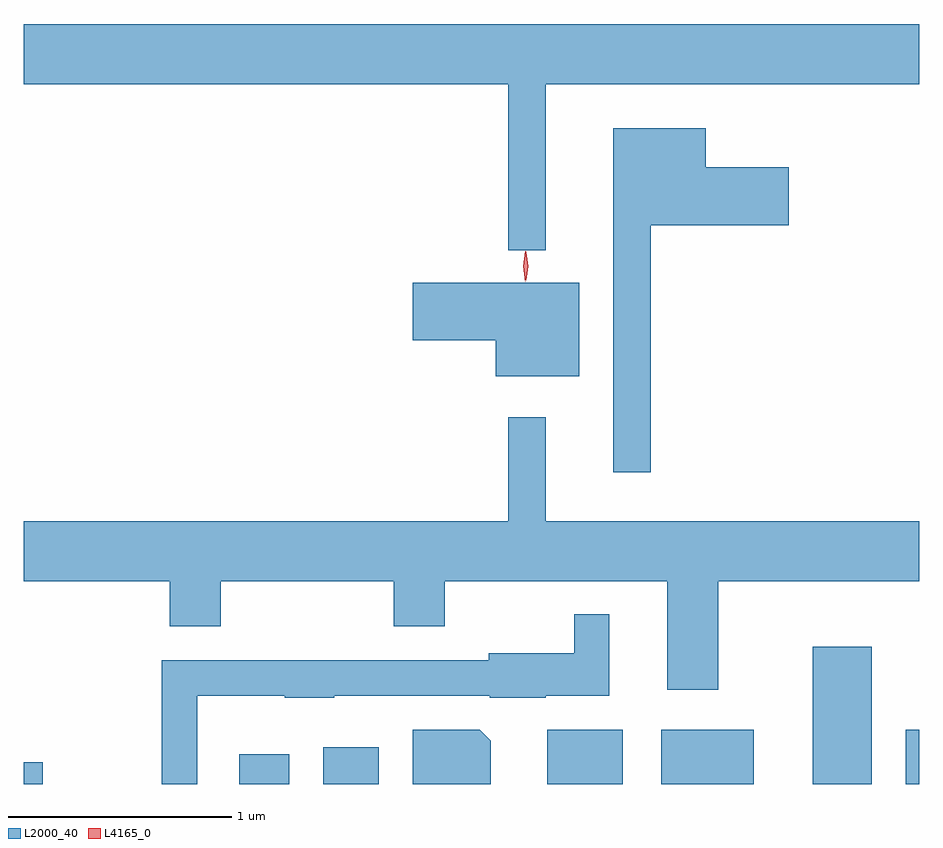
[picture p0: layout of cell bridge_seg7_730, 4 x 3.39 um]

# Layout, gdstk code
import gdstk
lib = gdstk.Library(unit=1e-6, precision=1e-09)
def R(c, l, rs):  # rectangles x0, y0, x1, y1
    for r in rs: c.add(gdstk.rectangle(r[:2], r[2:], *l))
def P(c, l, *ps):  # polygons
    for p in ps: c.add(gdstk.Polygon(p, *l))
L2000_40 = (2000, 40)
L4165_0 = (4165, 0)

bridge_seg7_730 = lib.new_cell('bridge_seg7_730')
R(bridge_seg7_730, L2000_40, [(523.618,1768.911,523.704,1769.009), (524.581,1768.911,524.804,1769.044), (524.956,1768.911,525.204,1769.074), (525.956,1768.911,526.294,1769.154), (526.466,1768.911,526.879,1769.154), (527.141,1768.911,527.404,1769.524), (527.556,1768.911,527.618,1769.154)])
P(bridge_seg7_730, L2000_40, [(525.949,1772.036),(527.618,1772.036),(527.618,1772.304),(523.618,1772.304),(523.618,1772.036),(525.781,1772.036),(525.781,1771.293),(525.949,1771.293)],
  [(526.419,1771.406),(527.034,1771.406),(527.034,1771.664),(526.664,1771.664),(526.664,1771.839),(526.251,1771.839),(526.251,1770.303),(526.419,1770.303)],
  [(526.099,1771.149),(525.356,1771.149),(525.356,1770.891),(525.726,1770.891),(525.726,1770.731),(526.099,1770.731)],
  [(526.719,1769.816),(527.618,1769.816),(527.618,1770.084),(525.949,1770.084),(525.949,1770.548),(525.781,1770.548),(525.781,1770.084),(523.618,1770.084),(523.618,1769.816),(524.271,1769.816),(524.271,1769.616),(524.499,1769.616),(524.499,1769.816),(525.271,1769.816),(525.271,1769.616),(525.499,1769.616),(525.499,1769.816),(526.491,1769.816),(526.491,1769.331),(526.719,1769.331)],
  [(524.394,1769.306),(524.785,1769.306),(524.785,1769.296),(525.005,1769.296),(525.005,1769.306),(525.7,1769.306),(525.7,1769.296),(525.95,1769.296),(525.95,1769.306),(526.234,1769.306),(526.234,1769.668),(526.076,1769.668),(526.076,1769.494),(525.696,1769.494),(525.696,1769.464),(524.236,1769.464),(524.236,1768.911),(524.394,1768.911)],
  [(525.704,1769.104),(525.654,1769.154),(525.356,1769.154),(525.356,1768.911),(525.704,1768.911)])
P(bridge_seg7_730, L4165_0, [(525.862,1771.16),(525.862,1771.16),(525.852,1771.223),(525.862,1771.286),(525.862,1771.287),(525.863,1771.286),(525.872,1771.223),(525.863,1771.16)],
  [(525.857,1771.154),(525.857,1771.154),(525.848,1771.222),(525.859,1771.29),(525.859,1771.29),(525.86,1771.29),(525.868,1771.222),(525.858,1771.154)])

lib.write_gds('bridge_seg7_730.gds')
